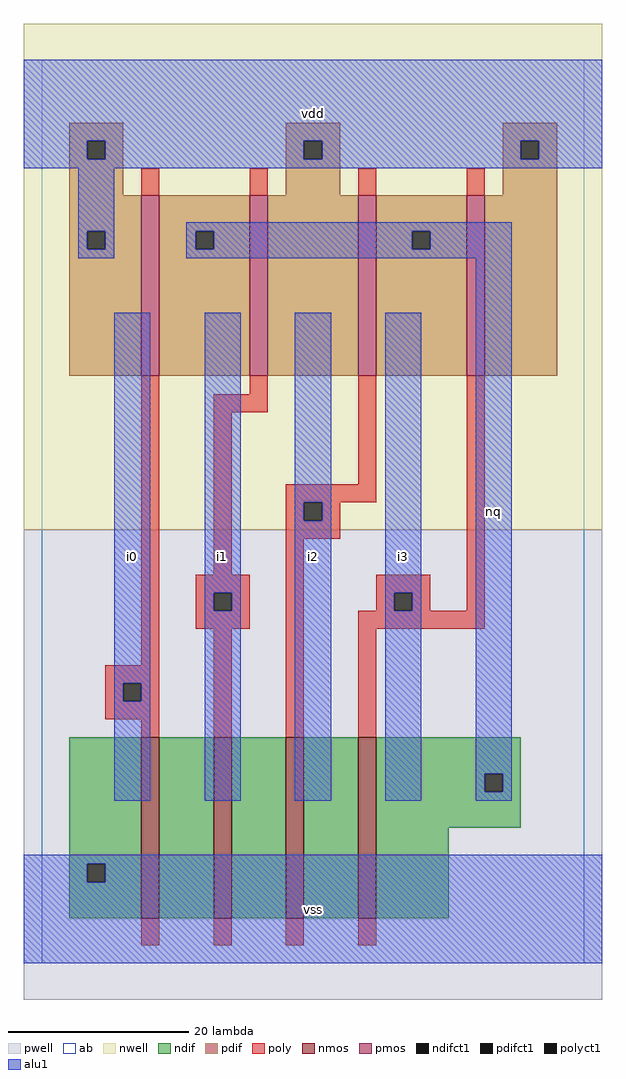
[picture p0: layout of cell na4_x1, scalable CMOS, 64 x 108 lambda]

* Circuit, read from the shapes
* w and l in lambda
.subckt na4_x1 i0 i1 i2 i3 nq vdd vss
M1 n1 i0 vss VSUBS nfet w=20 l=2
M2 n2 i1 n1 VSUBS nfet w=20 l=2
M3 n3 i2 n2 VSUBS nfet w=20 l=2
M4 nq i3 n3 VSUBS nfet w=20 l=2
M5 nq i0 vdd n4 pfet w=20 l=2
M6 vdd i1 nq n4 pfet w=20 l=2
M7 nq i2 vdd n4 pfet w=20 l=2
M8 vdd i3 nq n4 pfet w=20 l=2
.ends

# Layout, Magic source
magic
tech scmos
<< ab >>
rect 0 0 60 100
<< nwell >>
rect -2 48 62 104
<< pwell >>
rect -2 -4 62 48
<< poly >>
rect 11 85 13 88
rect 23 85 25 88
rect 35 85 37 88
rect 47 85 49 88
rect 11 33 13 65
rect 23 63 25 65
rect 19 61 25 63
rect 19 43 21 61
rect 35 53 37 65
rect 27 51 37 53
rect 27 49 29 51
rect 31 49 33 51
rect 27 47 33 49
rect 17 41 23 43
rect 17 39 19 41
rect 21 39 23 41
rect 17 37 23 39
rect 7 31 13 33
rect 7 29 9 31
rect 11 29 13 31
rect 7 27 13 29
rect 11 25 13 27
rect 19 25 21 37
rect 27 25 29 47
rect 37 41 43 43
rect 37 39 39 41
rect 41 39 43 41
rect 47 39 49 65
rect 35 37 49 39
rect 35 25 37 37
rect 11 2 13 5
rect 19 2 21 5
rect 27 2 29 5
rect 35 2 37 5
<< ndif >>
rect 3 11 11 25
rect 3 9 5 11
rect 7 9 11 11
rect 3 5 11 9
rect 13 5 19 25
rect 21 5 27 25
rect 29 5 35 25
rect 37 21 53 25
rect 37 19 49 21
rect 51 19 53 21
rect 37 15 53 19
rect 37 5 45 15
<< pdif >>
rect 3 91 9 93
rect 3 89 5 91
rect 7 89 9 91
rect 3 85 9 89
rect 27 91 33 93
rect 27 89 29 91
rect 31 89 33 91
rect 27 85 33 89
rect 51 91 57 93
rect 51 89 53 91
rect 55 89 57 91
rect 51 85 57 89
rect 3 81 11 85
rect 3 79 5 81
rect 7 79 11 81
rect 3 65 11 79
rect 13 81 23 85
rect 13 79 17 81
rect 19 79 23 81
rect 13 65 23 79
rect 25 65 35 85
rect 37 81 47 85
rect 37 79 41 81
rect 43 79 47 81
rect 37 65 47 79
rect 49 65 57 85
<< alu1 >>
rect -2 91 62 100
rect -2 89 5 91
rect 7 89 29 91
rect 31 89 53 91
rect 55 89 62 91
rect -2 88 62 89
rect 4 81 8 88
rect 4 79 5 81
rect 7 79 8 81
rect 4 78 8 79
rect 16 81 52 82
rect 16 79 17 81
rect 19 79 41 81
rect 43 79 52 81
rect 16 78 52 79
rect 8 31 12 72
rect 8 29 9 31
rect 11 29 12 31
rect 8 18 12 29
rect 18 41 22 72
rect 18 39 19 41
rect 21 39 22 41
rect 18 18 22 39
rect 28 51 32 72
rect 28 49 29 51
rect 31 49 32 51
rect 28 18 32 49
rect 38 41 42 72
rect 38 39 39 41
rect 41 39 42 41
rect 38 18 42 39
rect 48 21 52 78
rect 48 19 49 21
rect 51 19 52 21
rect 48 18 52 19
rect -2 11 62 12
rect -2 9 5 11
rect 7 9 62 11
rect -2 0 62 9
<< nmos >>
rect 11 5 13 25
rect 19 5 21 25
rect 27 5 29 25
rect 35 5 37 25
<< pmos >>
rect 11 65 13 85
rect 23 65 25 85
rect 35 65 37 85
rect 47 65 49 85
<< polyct1 >>
rect 29 49 31 51
rect 19 39 21 41
rect 9 29 11 31
rect 39 39 41 41
<< ndifct1 >>
rect 5 9 7 11
rect 49 19 51 21
<< pdifct1 >>
rect 5 89 7 91
rect 29 89 31 91
rect 53 89 55 91
rect 5 79 7 81
rect 17 79 19 81
rect 41 79 43 81
<< labels >>
rlabel alu1 10 45 10 45 6 i0
rlabel alu1 20 45 20 45 6 i1
rlabel alu1 30 6 30 6 6 vss
rlabel alu1 30 45 30 45 6 i2
rlabel alu1 40 45 40 45 6 i3
rlabel alu1 30 94 30 94 6 vdd
rlabel alu1 50 50 50 50 6 nq
<< end >>
